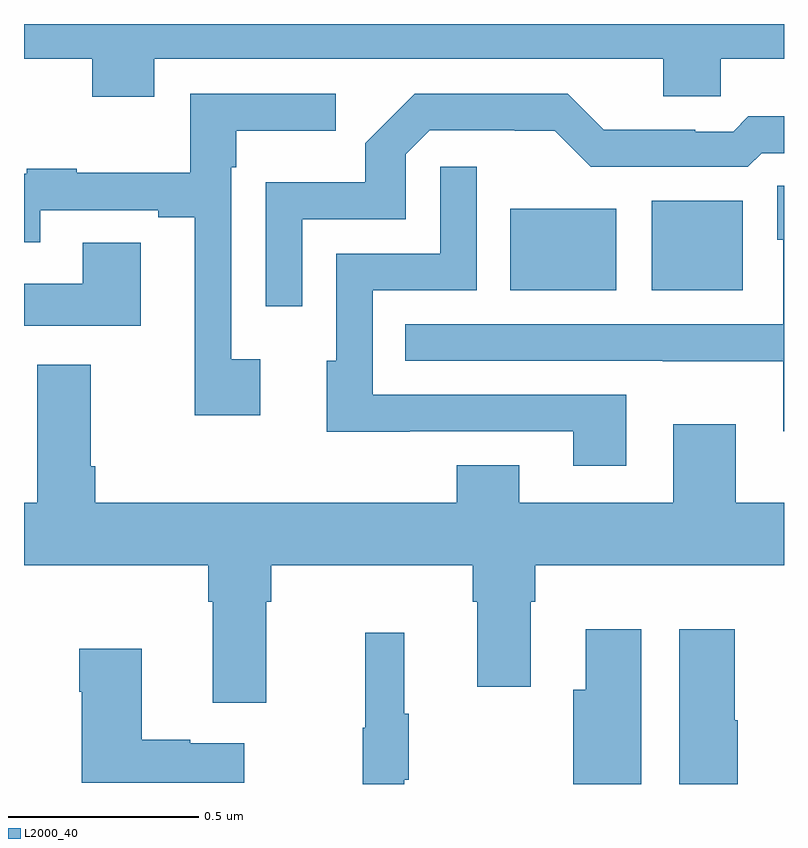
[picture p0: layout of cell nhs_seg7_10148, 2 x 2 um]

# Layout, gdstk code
import gdstk
lib = gdstk.Library(unit=1e-6, precision=1e-09)
def R(c, l, rs):  # rectangles x0, y0, x1, y1
    for r in rs: c.add(gdstk.rectangle(r[:2], r[2:], *l))
def P(c, l, *ps):  # polygons
    for p in ps: c.add(gdstk.Polygon(p, *l))
L2000_40 = (2000, 40)

nhs_seg7_10148 = lib.new_cell('nhs_seg7_10148')
R(nhs_seg7_10148, L2000_40, [(247.28,1041.299,247.558,1041.514), (247.652,1041.299,247.891,1041.535)])
P(nhs_seg7_10148, L2000_40, [(246.343,1041.908),(247.682,1041.908),(247.682,1041.81),(247.833,1041.81),(247.833,1041.908),(248,1041.908),(248,1042),(246,1042),(246,1041.908),(246.179,1041.908),(246.179,1041.809),(246.343,1041.809)],
  [(246.622,1041.118),(246.546,1041.118),(246.546,1041.623),(246.559,1041.623),(246.559,1041.719),(246.82,1041.719),(246.82,1041.816),(246.438,1041.816),(246.438,1041.608),(246.139,1041.608),(246.139,1041.619),(246.007,1041.619),(246.007,1041.606),(246,1041.606),(246,1041.426),(246.043,1041.426),(246.043,1041.51),(246.353,1041.51),(246.353,1041.492),(246.449,1041.492),(246.449,1040.97),(246.622,1040.97)],
  [(246.732,1041.486),(247.005,1041.486),(247.005,1041.657),(247.068,1041.72),(247.292,1041.72),(247.292,1041.719),(247.397,1041.719),(247.491,1041.624),(247.905,1041.624),(247.941,1041.66),(248,1041.66),(248,1041.757),(247.906,1041.757),(247.866,1041.717),(247.766,1041.717),(247.766,1041.722),(247.526,1041.722),(247.431,1041.816),(247.028,1041.816),(246.898,1041.686),(246.898,1041.583),(246.636,1041.583),(246.636,1041.257),(246.732,1041.257)],
  [(247.585,1041.024),(246.918,1041.024),(246.918,1041.3),(247.191,1041.3),(247.191,1041.625),(247.095,1041.625),(247.095,1041.396),(246.822,1041.396),(246.822,1041.114),(246.797,1041.114),(246.797,1040.927),(247.015,1040.927),(247.015,1040.928),(247.445,1040.928),(247.445,1040.838),(247.585,1040.838)],
  [(248,1041.575),(247.982,1041.575),(247.982,1041.432),(247.998,1041.432),(247.998,1041.21),(247.003,1041.21),(247.003,1041.114),(247.681,1041.114),(247.681,1041.113),(247.998,1041.113),(247.998,1040.928),(248,1040.928)],
  [(246.307,1041.425),(246.155,1041.425),(246.155,1041.316),(246,1041.316),(246,1041.206),(246.307,1041.206)],
  [(246.637,1040.48),(246.65,1040.48),(246.65,1040.576),(247.181,1040.576),(247.181,1040.48),(247.193,1040.48),(247.193,1040.256),(247.333,1040.256),(247.333,1040.48),(247.346,1040.48),(247.346,1040.576),(248,1040.576),(248,1040.74),(247.873,1040.74),(247.873,1040.947),(247.709,1040.947),(247.709,1040.74),(247.303,1040.74),(247.303,1040.839),(247.139,1040.839),(247.139,1040.74),(246.188,1040.74),(246.188,1040.836),(246.175,1040.836),(246.175,1041.103),(246.035,1041.103),(246.035,1040.74),(246,1040.74),(246,1040.576),(246.485,1040.576),(246.485,1040.48),(246.497,1040.48),(246.497,1040.214),(246.637,1040.214)],
  [(247.878,1040.168),(247.87,1040.168),(247.87,1040.407),(247.724,1040.407),(247.724,1040),(247.878,1040)],
  [(247.624,1040.407),(247.478,1040.407),(247.478,1040.248),(247.445,1040.248),(247.445,1040),(247.624,1040)],
  [(247.001,1040.011),(247.012,1040.011),(247.012,1040.185),(247.001,1040.185),(247.001,1040.398),(246.898,1040.398),(246.898,1040.148),(246.891,1040.148),(246.891,1040),(247.001,1040)],
  [(246.58,1040.107),(246.437,1040.107),(246.437,1040.117),(246.31,1040.117),(246.31,1040.356),(246.145,1040.356),(246.145,1040.243),(246.152,1040.243),(246.152,1040.003),(246.58,1040.003)])

lib.write_gds('nhs_seg7_10148.gds')
